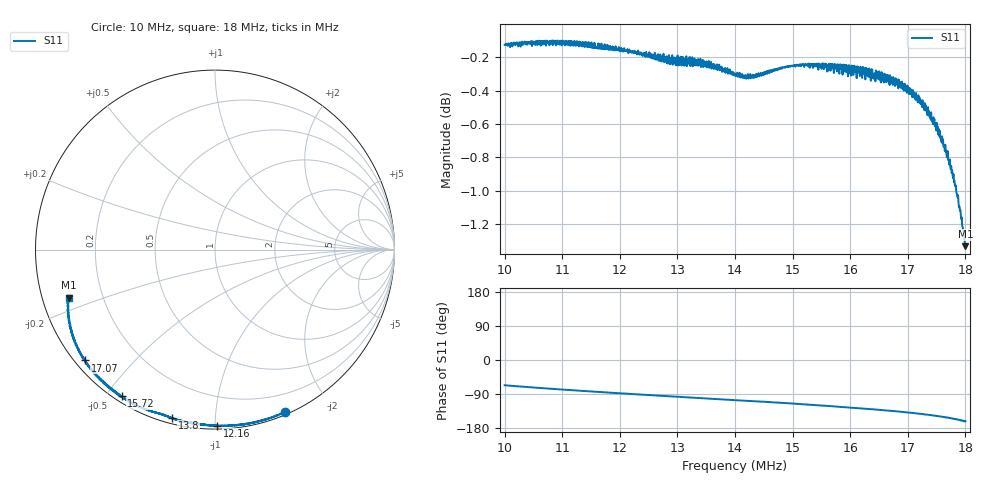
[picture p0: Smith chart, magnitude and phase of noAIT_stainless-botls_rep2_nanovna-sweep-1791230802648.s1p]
! NanoVNA Web complex sweep
! Processing: unaveraged complex samples; linear segment spacing; no smoothing
# Hz S RI R 50
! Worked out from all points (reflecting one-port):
!   1010 points, 10 MHz to 18 MHz, reference 50 ohm
!   lowest |S11| = -1.3 dB at 18 MHz (marker M1), VSWR 13.07, Z = 3.92 - j7.95 ohm
!   phase of S11 starts at -67 deg and turns -95 deg over the sweep
!   S11 on the Smith chart (normalised r, x): 10 MHz: 0.02, -1.52; 12.16 MHz: 0.02, -1.01; 13.8 MHz: 0.03, -0.78; 15.72 MHz: 0.02, -0.55; 17.07 MHz: 0.03, -0.37; 18 MHz: 0.08, -0.16
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1e7  0.3898 -0.9053
1.045988e7  0.3028 -0.9407
1.100698e7  0.2043 -0.9649
1.143515e7  0.1308 -0.9759
1.200604e7  0.0386 -0.9813
1.216462e7  0.0138 -0.9823
1.300509e7  -0.1194 -0.9711
1.340154e7  -0.1816 -0.9592
1.379799e7  -0.2384 -0.9383
1.400414e7  -0.2678 -0.9283
1.449574e7  -0.3309 -0.9067
1.50032e7  -0.4091 -0.8814
1.534415e7  -0.4638 -0.8545
1.571681e7  -0.5204 -0.8146
1.600225e7  -0.5633 -0.7884
1.625598e7  -0.6014 -0.7568
1.658107e7  -0.6519 -0.7107
1.681894e7  -0.6887 -0.6691
1.700131e7  -0.7144 -0.6331
1.707267e7  -0.7244 -0.6176
1.720746e7  -0.7444 -0.5855
1.737397e7  -0.7678 -0.5394
1.760391e7  -0.7971 -0.4614
1.76832e7  -0.8012 -0.4357
1.778628e7  -0.811 -0.3882
1.786557e7  -0.8149 -0.3507
1.796864e7  -0.8158 -0.2933
1.800036e7  -0.8151 -0.2675
